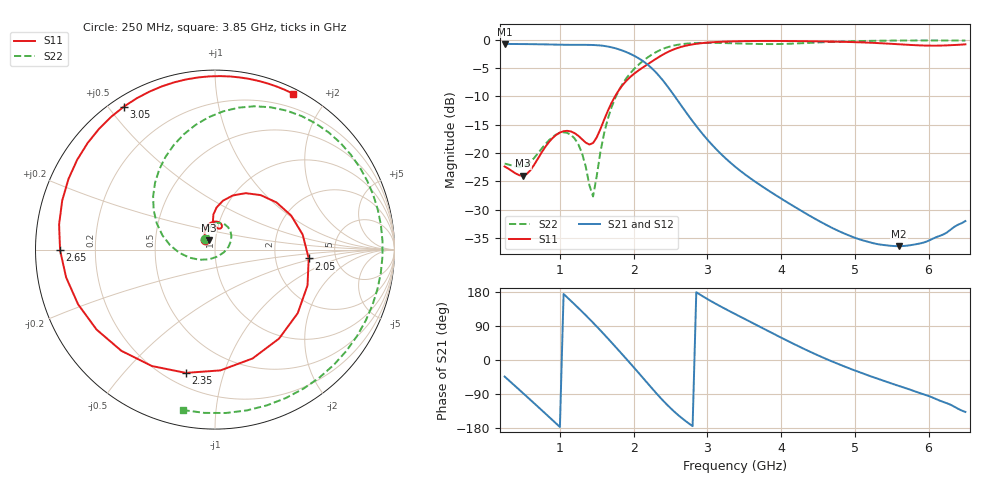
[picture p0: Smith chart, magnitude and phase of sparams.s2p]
! NobuRF pozar-ex8.6-stepped-lpf-r2: ports 1 "p1", 2 "p2"; 28200 + 30300 steps
# GHz S RI R 50
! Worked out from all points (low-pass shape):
!   126 points, 250 MHz to 6.5 GHz, reference 50 ohm
!   highest |S21| = -0.77 dB at 250 MHz (marker M1); lowest = -36.4 dB at 5.6 GHz (marker M2)
!   |S21| within 3 dB of the highest: start of sweep to 2.123 GHz
!   lowest |S11| = -24.0 dB at 500 MHz (marker M3), VSWR 1.13, Z = 46.5 + j4.96 ohm
!   |S11| at or under -10 dB: start of sweep to 1.749 GHz
!   |S22| runs from -27.7 to -0.2 dB; largest |S21 - S12| = 0.00063
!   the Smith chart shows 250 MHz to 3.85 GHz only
!   S11 on the Smith chart (normalised r, x): 250 MHz: 0.89, +0.10; 2.05 GHz: 3.14, -0.43; 2.35 GHz: 0.27, -0.75; 2.65 GHz: 0.07, -0.00; 3.05 GHz: 0.04, +0.55; 3.85 GHz: 0.05, +1.62
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0.25  -0.054 0.0534  0.661 -0.6322  0.661 -0.6322  -0.0566 0.0573
0.5  -0.0339 0.0532  0.0388 -0.9108  0.0388 -0.9108  -0.0332 0.0686
0.7  -0.0539 0.0705  -0.4941 -0.7623  -0.4941 -0.7623  -0.039 0.0908
0.95  -0.0381 0.1393  -0.8811 -0.1918  -0.8811 -0.1918  -0.000207 0.1454
1.3  0.0386 0.1263  -0.5492 0.7101  -0.5492 0.7101  0.0882 0.0459
1.45  0.00873 0.1221  -0.1299 0.8851  -0.1299 0.8851  0.0136 -0.039
1.75  0.0989 0.3015  0.6816 0.4878  0.6816 0.4878  -0.2937 0.0808
2.05  0.5222 -0.049  0.6009 -0.3478  0.6009 -0.3478  -0.2751 0.5176
2.2  0.357 -0.4957  0.2626 -0.5323  0.2626 -0.5323  -0.109 0.6942
2.35  -0.1627 -0.687  -0.0563 -0.4711  -0.0563 -0.4711  0.1306 0.7907
2.65  -0.8631 -0.00411  -0.2306 -0.1188  -0.2306 -0.1188  0.6341 0.6522
3.05  -0.5076 0.7966  -0.1096 0.0504  -0.1097 0.0504  0.9331 0.0492
3.4  -0.0325 0.965  -0.0356 0.0644  -0.0356 0.0644  0.7319 -0.5646
3.85  0.4344 0.869  0.0126 0.0439  0.0126 0.0439  -0.1782 -0.8939
4.15  0.6582 0.7114  0.0246 0.0242  0.0246 0.0242  -0.7662 -0.5094
4.45  0.8232 0.5024  0.0254 0.00763  0.0254 0.00763  -0.9343 0.0942
4.9  0.9481 0.0848  0.0178 -0.00654  0.0178 -0.00653  -0.6327 0.7266
5.5  0.6443 -0.6516  0.00709 -0.0134  0.00712 -0.0134  -0.0774 0.9754
5.6  0.4973 -0.76  0.0055 -0.014  0.00551 -0.0141  0.00247 0.9796
6  -0.3466 -0.8129  -0.00144 -0.0168  -0.00158 -0.0167  0.2794 0.9406
6.25  -0.7851 -0.4158  -0.00814 -0.0182  -0.00849 -0.0182  0.4229 0.8845
6.5  -0.9001 0.1117  -0.0184 -0.0171  -0.019 -0.0171  0.5489 0.8097
